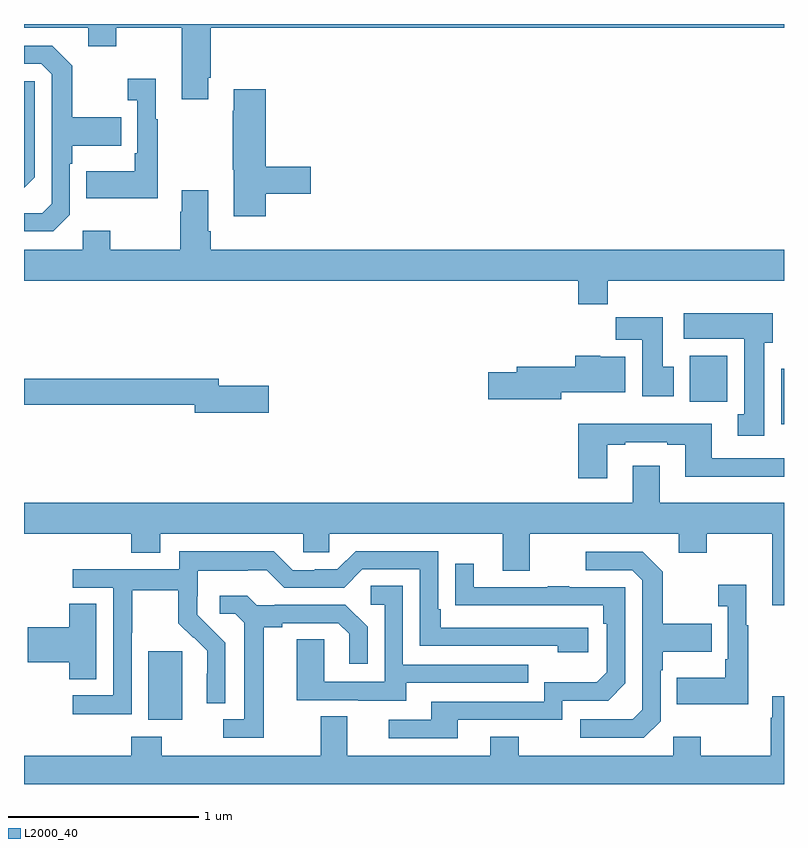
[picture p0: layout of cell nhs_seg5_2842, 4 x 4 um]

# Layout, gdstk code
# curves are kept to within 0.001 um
import gdstk
lib = gdstk.Library(unit=1e-6, precision=1e-09)
def R(c, l, rs):  # rectangles x0, y0, x1, y1
    for r in rs: c.add(gdstk.rectangle(r[:2], r[2:], *l))
def P(c, l, *ps):  # polygons
    for p in ps: c.add(gdstk.Polygon(p, *l))
L2000_40 = (2000, 40)

nhs_seg5_2842 = lib.new_cell('nhs_seg5_2842')
R(nhs_seg5_2842, L2000_40, [(277.655,833.138,277.834,833.499), (280.985,834.692,281,834.984), (280.505,834.812,280.702,835.054)])
P(nhs_seg5_2842, L2000_40, [(281,836.799),(277,836.799),(277,836.78),(277.337,836.78),(277.337,836.681),(277.485,836.681),(277.485,836.78),(277.829,836.78),(277.829,836.403),(277.969,836.403),(277.969,836.515),(277.982,836.515),(277.982,836.78),(281,836.78)],
  [(277.242,835.794),(277.242,836.063),(277.255,836.063),(277.255,836.159),(277.511,836.159),(277.511,836.307),(277.255,836.307),(277.255,836.579),(277.149,836.685),(277,836.685),(277,836.589),(277.092,836.589),(277.146,836.535),(277.146,835.854),(277.095,835.803),(277,835.803),(277,835.707),(277.155,835.707)],
  [(277.705,836.299),(277.693,836.299),(277.693,836.512),(277.545,836.512),(277.545,836.399),(277.596,836.399),(277.596,836.119),(277.584,836.119),(277.584,836.023),(277.327,836.023),(277.327,835.883),(277.705,835.883)],
  [(277.056,835.992),(277.056,836.499),(277,836.499),(277,835.936)],
  [(278.273,835.906),(278.509,835.906),(278.509,836.048),(278.273,836.048),(278.273,836.455),(278.105,836.455),(278.105,836.342),(278.098,836.342),(278.098,836.031),(278.105,836.031),(278.105,835.788),(278.273,835.788)],
  [(280.073,835.448),(281,835.448),(281,835.612),(277.982,835.612),(277.982,835.708),(277.969,835.708),(277.969,835.924),(277.829,835.924),(277.829,835.811),(277.822,835.811),(277.822,835.612),(277.455,835.612),(277.455,835.711),(277.308,835.711),(277.308,835.612),(277,835.612),(277,835.448),(279.917,835.448),(279.917,835.324),(280.073,835.324)],
  [(280.897,835.122),(280.942,835.122),(280.942,835.276),(280.473,835.276),(280.473,835.142),(280.79,835.142),(280.79,834.746),(280.757,834.746),(280.757,834.633),(280.897,834.633)],
  [(280.42,834.996),(280.363,834.996),(280.363,835.255),(280.114,835.255),(280.114,835.136),(280.253,835.136),(280.253,834.84),(280.42,834.84)],
  [(279.828,834.86),(280.165,834.86),(280.165,835.048),(280.032,835.048),(280.032,835.054),(279.902,835.054),(279.902,834.996),(279.593,834.996),(279.593,834.966),(279.444,834.966),(279.444,834.824),(279.828,834.824)],
  [(278.287,834.896),(278.026,834.896),(278.026,834.932),(277,834.932),(277,834.796),(277.898,834.796),(277.898,834.754),(278.287,834.754)],
  [(280.069,834.585),(280.165,834.585),(280.165,834.597),(280.385,834.597),(280.385,834.585),(280.481,834.585),(280.481,834.416),(281,834.416),(281,834.513),(280.621,834.513),(280.621,834.694),(279.917,834.694),(279.917,834.408),(280.069,834.408)],
  [(281,834.28),(280.345,834.28),(280.345,834.475),(280.205,834.475),(280.205,834.28),(277,834.28),(277,834.116),(277.565,834.116),(277.565,834.017),(277.717,834.017),(277.717,834.116),(278.469,834.116),(278.469,834.018),(278.607,834.018),(278.607,834.116),(279.521,834.116),(279.521,833.922),(279.661,833.922),(279.661,834.116),(280.445,834.116),(280.445,834.017),(280.593,834.017),(280.593,834.116),(280.937,834.116),(280.937,833.739),(281,833.739)],
  [(277.566,833.596),(277.569,833.596),(277.569,833.82),(277.813,833.82),(277.813,833.645),(277.89,833.568),(277.893,833.571),(277.964,833.501),(277.964,833.378),(277.962,833.378),(277.962,833.224),(278.058,833.224),(278.058,833.542),(277.912,833.69),(277.912,833.787),(277.914,833.787),(277.914,833.921),(278.177,833.921),(278.177,833.925),(278.277,833.925),(278.37,833.832),(278.685,833.832),(278.781,833.928),(279.084,833.928),(279.084,833.526),(279.809,833.526),(279.809,833.492),(279.97,833.492),(279.97,833.622),(279.193,833.622),(279.193,833.719),(279.18,833.719),(279.18,834.024),(278.745,834.024),(278.649,833.928),(278.531,833.928),(278.531,833.925),(278.415,833.925),(278.315,834.025),(277.818,834.025),(277.818,833.928),(277.257,833.928),(277.257,833.832),(277.47,833.832),(277.47,833.265),(277.257,833.265),(277.257,833.167),(277.566,833.167)],
  [(280.35,833.13),(280.35,833.399),(280.363,833.399),(280.363,833.495),(280.619,833.495),(280.619,833.643),(280.363,833.643),(280.363,833.915),(280.257,834.021),(279.957,834.021),(279.957,833.925),(280.2,833.925),(280.254,833.871),(280.254,833.19),(280.203,833.139),(279.927,833.139),(279.927,833.043),(280.263,833.043)],
  [(279.283,833.136),(279.834,833.136),(279.834,833.238),(280.074,833.238),(280.164,833.328),(280.164,833.835),(279.869,833.835),(279.869,833.84),(279.757,833.84),(279.757,833.835),(279.367,833.835),(279.367,833.959),(279.271,833.959),(279.271,833.74),(280.048,833.739),(280.048,833.642),(280.068,833.642),(280.068,833.388),(280.015,833.335),(279.738,833.335),(279.738,833.232),(279.143,833.232),(279.143,833.136),(278.919,833.136),(278.919,833.04),(279.283,833.04)],
  [(280.813,833.635),(280.801,833.635),(280.801,833.848),(280.653,833.848),(280.653,833.735),(280.704,833.735),(280.704,833.455),(280.692,833.455),(280.692,833.359),(280.435,833.359),(280.435,833.219),(280.813,833.219)],
  [(279.013,833.331),(279.653,833.331),(279.653,833.427),(278.994,833.427),(278.994,833.843),(278.826,833.843),(278.826,833.742),(278.898,833.742),(278.898,833.337),(278.58,833.337),(278.58,833.561),(278.435,833.561),(278.435,833.241),(278.759,833.241),(278.759,833.237),(279.013,833.237)],
  [(278.263,833.624),(278.359,833.624),(278.359,833.646),(278.654,833.646),(278.711,833.589),(278.711,833.433),(278.808,833.433),(278.808,833.626),(278.692,833.742),(278.32,833.742),(278.32,833.739),(278.226,833.739),(278.174,833.791),(278.031,833.791),(278.031,833.694),(278.112,833.694),(278.159,833.647),(278.159,833.139),(278.049,833.139),(278.049,833.043),(278.263,833.043)],
  [(277.381,833.747),(277.238,833.747),(277.238,833.624),(277.02,833.624),(277.02,833.441),(277.238,833.441),(277.238,833.35),(277.381,833.35)],
  [(281,833.26),(280.937,833.26),(280.937,833.147),(280.93,833.147),(280.93,832.948),(280.563,832.948),(280.563,833.047),(280.416,833.047),(280.416,832.948),(279.603,832.948),(279.603,833.047),(279.455,833.047),(279.455,832.948),(278.701,832.948),(278.701,833.156),(278.561,833.156),(278.561,832.948),(277.725,832.948),(277.725,833.047),(277.565,833.047),(277.565,832.948),(277,832.948),(277,832.799),(281,832.799)])

lib.write_gds('nhs_seg5_2842.gds')
